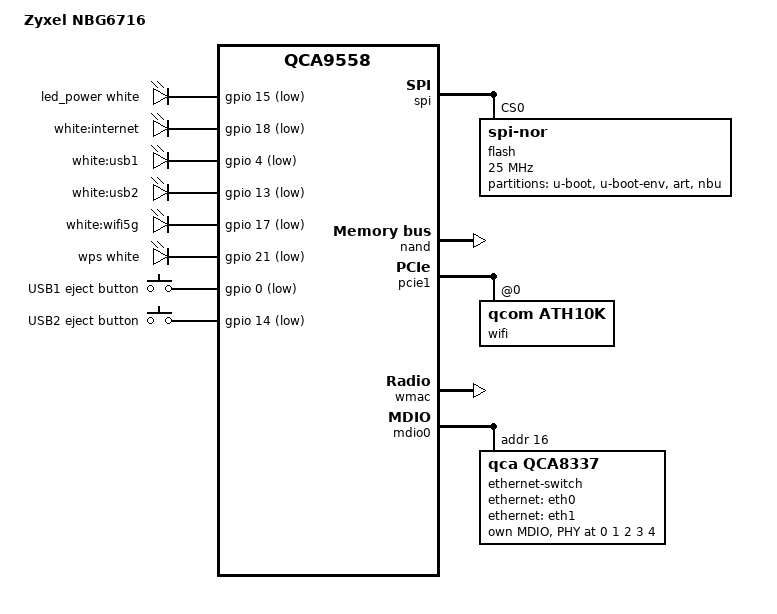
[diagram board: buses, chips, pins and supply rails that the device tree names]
// SPDX-License-Identifier: GPL-2.0-or-later OR MIT

#include <dt-bindings/leds/common.h>

#include "qca955x_zyxel_nbg6x16.dtsi"
#include "qca955x_ag71xx.dtsi"

/ {
	compatible = "zyxel,nbg6716", "qca,qca9558";
	model = "Zyxel NBG6716";

	aliases {
		led-boot = &led_power;
		led-failsafe = &led_power;
		led-running = &led_power;
		led-upgrade = &led_power;
	};

	leds {
		compatible = "gpio-leds";

		led_power: power {
			function = LED_FUNCTION_POWER;
			color = <LED_COLOR_ID_WHITE>;
			gpios = <&gpio 15 GPIO_ACTIVE_LOW>;
		};

		internet {
			label = "white:internet";
			gpios = <&gpio 18 GPIO_ACTIVE_LOW>;
		};

		usb1 {
			label = "white:usb1";
			gpios = <&gpio 4 GPIO_ACTIVE_LOW>;
			linux,default-trigger = "usbport";
			trigger-sources = <&hub_port1>;
		};

		usb2 {
			label = "white:usb2";
			gpios = <&gpio 13 GPIO_ACTIVE_LOW>;
			linux,default-trigger = "usbport";
			trigger-sources = <&hub_port0>;
		};

		wifi5g {
			label = "white:wifi5g";
			gpios = <&gpio 17 GPIO_ACTIVE_LOW>;
			linux,default-trigger = "phy0tpt";
		};

		wps {
			function = LED_FUNCTION_WPS;
			color = <LED_COLOR_ID_WHITE>;
			gpios = <&gpio 21 GPIO_ACTIVE_LOW>;
		};
	};
};

&keys {
	usb1 {
		label = "USB1 eject button";
		linux,code = <BTN_1>;
		gpios = <&gpio 0 GPIO_ACTIVE_LOW>;
		debounce-interval = <60>;
	};

	usb2 {
		label = "USB2 eject button";
		linux,code = <BTN_2>;
		gpios = <&gpio 14 GPIO_ACTIVE_LOW>;
		debounce-interval = <60>;
	};
};

&gpio_usb_power {
	line-name = "nbg6716:power:usb";
};

&spi {
	status = "okay";

	flash@0 {
		compatible = "jedec,spi-nor";
		reg = <0>;
		spi-max-frequency = <25000000>;

		partitions {
			compatible = "fixed-partitions";
			#address-cells = <1>;
			#size-cells = <1>;

			partition@0 {
				label = "u-boot";
				reg = <0x000000 0x040000>;
				read-only;
			};

			partition@40000 {
				label = "u-boot-env";
				reg = <0x040000 0x010000>;

				nvmem-layout {
					compatible = "u-boot,env";

					macaddr_uboot_ethaddr: ethaddr {
						#nvmem-cell-cells = <1>;
					};
				};
			};

			partition@50000 {
				label = "art";
				reg = <0x050000 0x010000>;
				read-only;

				nvmem-layout {
					compatible = "fixed-layout";
					#address-cells = <1>;
					#size-cells = <1>;

					cal_art_1000: calibration@1000 {
						reg = <0x1000 0x440>;
					};

					cal_art_5000: calibration@5000 {
						reg = <0x5000 0x844>;
					};
				};
			};

			partition@60000 {
				label = "nbu";
				reg = <0x060000 0xfa0000>;
			};
		};
	};
};

&nand {
	status = "okay";

	partitions {
		compatible = "fixed-partitions";
		#address-cells = <1>;
		#size-cells = <1>;

		partition@0 {
			label = "zyxel_rfsd";
			reg = <0x0 0x200000>;
		};

		partition@200000 {
			label = "romd";
			reg = <0x200000 0x200000>;
		};

		partition@400000 {
			label = "header";
			reg = <0x400000 0x100000>;
		};

		firmware@500000 {
			label = "firmware";
			reg = <0x500000 0x7b00000>;

			compatible = "fixed-partitions";
			#address-cells = <1>;
			#size-cells = <1>;

			partition@0 {
				label = "kernel";
				reg = <0x0 0x400000>;
			};

			partition@400000 {
				label = "ubi";
				reg = <0x400000 0x7700000>;
			};
		};
	};
};

&pcie1 {
	status = "okay";

	wifi@0,0 {
		compatible = "qcom,ath10k";
		reg = <0 0 0 0 0>;
		nvmem-cells = <&cal_art_5000>, <&macaddr_uboot_ethaddr 1>;
		nvmem-cell-names = "calibration", "mac-address";
		qcom,ath10k-calibration-variant = "ZyXEL-NBG6716";
	};
};

&wmac {
	led {
		led-sources = <19>;
		led-active-low;
	};
};

&mdio0 {
	status = "okay";

	ethernet-switch@10 {
		compatible = "qca,qca8337";
		#address-cells = <1>;
		#size-cells = <0>;
		reg = <0x10>;
		qca,ignore-power-on-sel;
		qca,led-open-drain;

		ethernet-ports {
			#address-cells = <1>;
			#size-cells = <0>;

			ethernet-port@0 {
				reg = <0>;
				ethernet = <&eth0>;
				phy-mode = "rgmii-id";

				fixed-link {
					speed = <1000>;
					full-duplex;
				};
			};

			ethernet-port@1 {
				reg = <1>;
				label = "lan1";
				phy-mode = "internal";
				phy-handle = <&phy_port1>;
			};

			ethernet-port@2 {
				reg = <2>;
				label = "lan2";
				phy-mode = "internal";
				phy-handle = <&phy_port2>;
			};

			ethernet-port@3 {
				reg = <3>;
				label = "lan3";
				phy-mode = "internal";
				phy-handle = <&phy_port3>;
			};

			ethernet-port@4 {
				reg = <4>;
				label = "lan4";
				phy-mode = "internal";
				phy-handle = <&phy_port4>;
			};

			ethernet-port@5 {
				reg = <5>;
				label = "wan";
				phy-mode = "internal";
				phy-handle = <&phy_port5>;
			};

			ethernet-port@6 {
				reg = <6>;
				ethernet = <&eth1>;
				phy-mode = "sgmii";
				qca,sgmii-rxclk-falling-edge;

				fixed-link {
					speed = <1000>;
					full-duplex;
				};
			};
		};

		mdio {
			#address-cells = <1>;
			#size-cells = <0>;

			phy_port1: ethernet-phy@0 {
				reg = <0>;
			};

			phy_port2: ethernet-phy@1 {
				reg = <1>;
			};

			phy_port3: ethernet-phy@2 {
				reg = <2>;
			};

			phy_port4: ethernet-phy@3 {
				reg = <3>;
			};

			phy_port5: ethernet-phy@4 {
				reg = <4>;
			};
		};
	};
};

&eth0 {
	qca,gmac = <&gmac>;
	qca,pll = <&pll>;
	rx-internal-delay-ps = <1800>;
	tx-internal-delay-ps = <800>;
	qca,tx-clk-invert;
};
